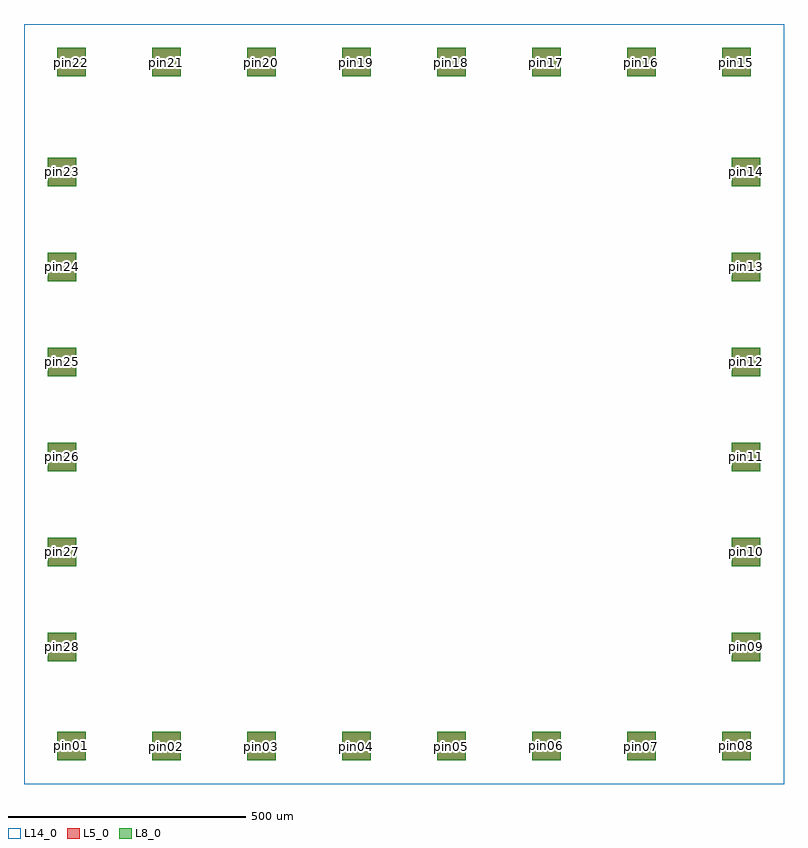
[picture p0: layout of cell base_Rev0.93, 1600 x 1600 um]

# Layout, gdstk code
from math import pi, radians
import gdstk
lib = gdstk.Library(unit=1e-6, precision=1e-09)
def R(c, l, rs):  # rectangles x0, y0, x1, y1
    for r in rs: c.add(gdstk.rectangle(r[:2], r[2:], *l))
L5_0 = (5, 0)
L8_0 = (8, 0)
L14_0 = (14, 0)

c_16_5x5_flame = lib.new_cell('16_5x5_flame')
R(c_16_5x5_flame, L14_0, [(-800,-800,800,800), (-750,-750,750,750)])

tin_m1 = lib.new_cell('tin_M1')

v_tin_line3 = lib.new_cell('V_tin_line3')
r = gdstk.Reference(tin_m1, (-20.5,74), rotation=pi); r.repetition = gdstk.Repetition(2, 3, v1=(0,13), v2=(20,20)); v_tin_line3.add(r)
r = gdstk.Reference(tin_m1, (-20.5,-88), rotation=pi); r.repetition = gdstk.Repetition(2, 3, v1=(0,13), v2=(20,-20)); v_tin_line3.add(r)

pmos_array = lib.new_cell('pmos_array')
pmos_array.add(gdstk.Reference(v_tin_line3, (-40,0)))
pmos_array.add(gdstk.Reference(v_tin_line3, (107,0)))

nmos_array = lib.new_cell('nmos_array')
nmos_array.add(gdstk.Reference(v_tin_line3, (-40,0)))
nmos_array.add(gdstk.Reference(v_tin_line3, (107,0)))

resistor_array = lib.new_cell('resistor_array')

cap_con = lib.new_cell('cap_con')
r = gdstk.Reference(tin_m1, (28.25,35.5), rotation=pi); r.repetition = gdstk.Repetition(4, 1, v1=(-13,0), v2=(0,0)); cap_con.add(r)
r = gdstk.Reference(tin_m1, (28.25,-49.5), rotation=pi); r.repetition = gdstk.Repetition(4, 1, v1=(-13,0), v2=(0,0)); cap_con.add(r)

tin_m1_cap_array = lib.new_cell('tin_m1_cap_array')
r = gdstk.Reference(cap_con, (-80,-80)); r.repetition = gdstk.Repetition(2, 2, v1=(150,0), v2=(0,150)); tin_m1_cap_array.add(r)

base_array = lib.new_cell('base_array')
base_array.add(gdstk.Reference(pmos_array, (-160,160)))
base_array.add(gdstk.Reference(nmos_array, (-160,-160)))
base_array.add(gdstk.Reference(resistor_array, (160,-160)))
base_array.add(gdstk.Reference(tin_m1_cap_array, (160,160)))

pad_60_m1_tin = lib.new_cell('pad_60_m1_tin')
R(pad_60_m1_tin, L5_0, [(-30,-30,30,30), (-30,-30,30,30)])
R(pad_60_m1_tin, L8_0, [(-30,-30,30,30)])
r = gdstk.Reference(tin_m1, (22,-23), rotation=pi/2); r.repetition = gdstk.Repetition(4, 4, v1=(0,15), v2=(-15,0)); pad_60_m1_tin.add(r)

base_rev0_93 = lib.new_cell('base_Rev0.93')
base_rev0_93.add(gdstk.Reference(c_16_5x5_flame, (0,0)))
r = gdstk.Reference(base_array, (-320,-320)); r.repetition = gdstk.Repetition(2, 2, v1=(640,0), v2=(0,640)); base_rev0_93.add(r)
r = gdstk.Reference(pad_60_m1_tin, (700,720), rotation=pi/2); r.repetition = gdstk.Repetition(1, 8, v1=(0,0), v2=(-200,0)); base_rev0_93.add(r)
r = gdstk.Reference(pad_60_m1_tin, (700,-720), rotation=pi/2); r.repetition = gdstk.Repetition(1, 8, v1=(0,0), v2=(-200,0)); base_rev0_93.add(r)
r = gdstk.Reference(pad_60_m1_tin, (-720,488), rotation=pi); r.repetition = gdstk.Repetition(1, 6, v1=(0,0), v2=(0,-200)); base_rev0_93.add(r)
r = gdstk.Reference(pad_60_m1_tin, (720,488), rotation=pi); r.repetition = gdstk.Repetition(1, 6, v1=(0,0), v2=(0,-200)); base_rev0_93.add(r)
base_rev0_93.add(gdstk.Label('pin01', (-699,-719.5), layer=8, texttype=0))
base_rev0_93.add(gdstk.Label('pin02', (-499,-720), layer=8, texttype=0))
base_rev0_93.add(gdstk.Label('pin03', (-299,-720), layer=8, texttype=0))
base_rev0_93.add(gdstk.Label('pin04', (-99,-720), layer=8, texttype=0))
base_rev0_93.add(gdstk.Label('pin05', (101,-720), layer=8, texttype=0))
base_rev0_93.add(gdstk.Label('pin06', (301,-719.5), layer=8, texttype=0))
base_rev0_93.add(gdstk.Label('pin07', (501,-720), layer=8, texttype=0))
base_rev0_93.add(gdstk.Label('pin08', (701,-719.5), layer=8, texttype=0))
base_rev0_93.add(gdstk.Label('pin09', (720.5,-511), layer=8, texttype=0))
base_rev0_93.add(gdstk.Label('pin10', (720,-311), layer=8, texttype=0))
base_rev0_93.add(gdstk.Label('pin11', (720,-111), layer=8, texttype=0))
base_rev0_93.add(gdstk.Label('pin12', (720,89), layer=8, texttype=0))
base_rev0_93.add(gdstk.Label('pin13', (720,289), layer=8, texttype=0))
base_rev0_93.add(gdstk.Label('pin14', (720,489), layer=8, texttype=0))
base_rev0_93.add(gdstk.Label('pin15', (701,720), layer=8, texttype=0))
base_rev0_93.add(gdstk.Label('pin16', (501,720), layer=8, texttype=0))
base_rev0_93.add(gdstk.Label('pin17', (301,720), layer=8, texttype=0))
base_rev0_93.add(gdstk.Label('pin18', (101,720), layer=8, texttype=0))
base_rev0_93.add(gdstk.Label('pin19', (-99,720), layer=8, texttype=0))
base_rev0_93.add(gdstk.Label('pin20', (-299,720), layer=8, texttype=0))
base_rev0_93.add(gdstk.Label('pin21', (-499,720), layer=8, texttype=0))
base_rev0_93.add(gdstk.Label('pin22', (-699,720), layer=8, texttype=0))
base_rev0_93.add(gdstk.Label('pin23', (-720,489), layer=8, texttype=0))
base_rev0_93.add(gdstk.Label('pin24', (-720,289), layer=8, texttype=0))
base_rev0_93.add(gdstk.Label('pin25', (-720,89), layer=8, texttype=0))
base_rev0_93.add(gdstk.Label('pin26', (-720,-111), layer=8, texttype=0))
base_rev0_93.add(gdstk.Label('pin27', (-720,-311), layer=8, texttype=0))
base_rev0_93.add(gdstk.Label('pin28', (-720,-511), layer=8, texttype=0))

lib.write_gds('base_Rev0.93.gds')
